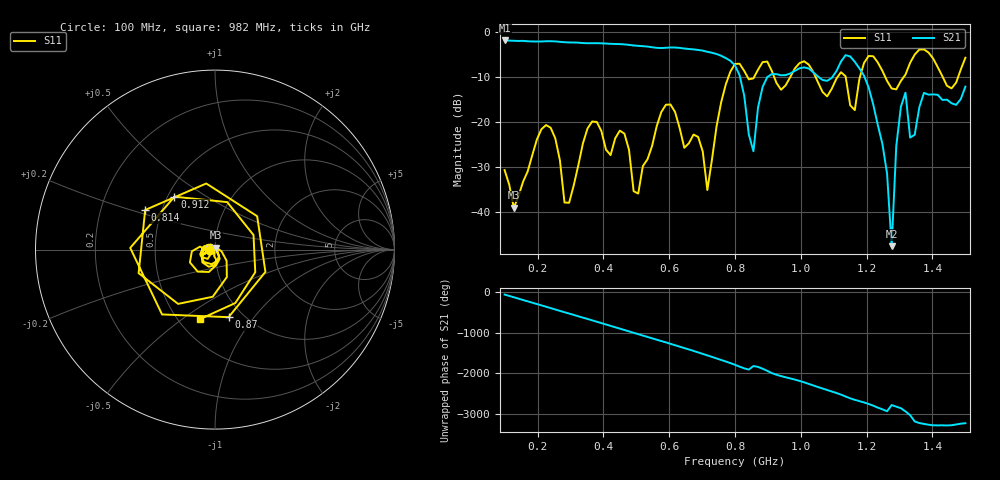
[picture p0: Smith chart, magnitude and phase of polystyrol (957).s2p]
! NanoVNA-App
! Date: 2025-09-25 15:37:19
! Start: 100MHz Stop: 1,5GHz Points: 101
! S-Parameter data: F S11 S21 S12 S22
# Hz S RI R 50
!  Frequency  S11_Real  S11_Imag  S21_Real  S21_Imag  S12_Real  S12_Imag  S22_Real  S22_Imag
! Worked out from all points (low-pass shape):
!   101 points, 100 MHz to 1.5 GHz, reference 50 ohm
!   highest |S21| = -1.80 dB at 100 MHz (marker M1); lowest = -47.7 dB at 1.276 GHz (marker M2)
!   |S21| within 3 dB of the highest: start of sweep to 743.1 MHz
!   lowest |S11| = -39.1 dB at 128 MHz (marker M3), VSWR 1.02, Z = 50.3 + j1.06 ohm
!   |S11| at or under -10 dB: start of sweep to 779.8 MHz; 1.045 GHz to 1.111 GHz (66.11 MHz wide, 6.13 % of centre); 1.257 GHz to 1.312 GHz (55.36 MHz wide, 4.31 % of centre)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
!   S12 and S22 are empty: the file has one direction only
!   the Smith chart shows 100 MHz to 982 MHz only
!   S11 on the Smith chart (normalised r, x): 100 MHz: 0.94, -0.01; 814 MHz: 0.40, +0.22; 870 MHz: 0.86, -0.76; 912 MHz: 0.54, +0.37; 982 MHz: 0.63, -0.58
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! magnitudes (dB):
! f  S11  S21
! 100 MHz  -30.7  -1.8
! 128 MHz  -39.1  -1.9
! 212 MHz  -21.6  -2.0
! 282 MHz  -37.9  -2.2
! 338 MHz  -24.7  -2.4
! 464 MHz  -22.6  -2.7
! 506 MHz  -35.9  -3.0
! 576 MHz  -17.8  -3.5
! 716 MHz  -35.2  -4.3
! 800 MHz  -7.0  -7.4
! 814 MHz  -7.0  -9.6
! 856 MHz  -10.3  -26.5
! 870 MHz  -8.3  -16.7
! 912 MHz  -8.6  -9.3
! 982 MHz  -8.0  -8.6
! 1.038 GHz  -8.8  -8.9
! 1.164 GHz  -17.3  -6.6
! 1.192 GHz  -6.8  -9.7
! 1.276 GHz  -12.5  -47.7
! 1.29 GHz  -12.7  -25.4
! 1.318 GHz  -9.4  -13.4
! 1.5 GHz  -5.6  -12.1
